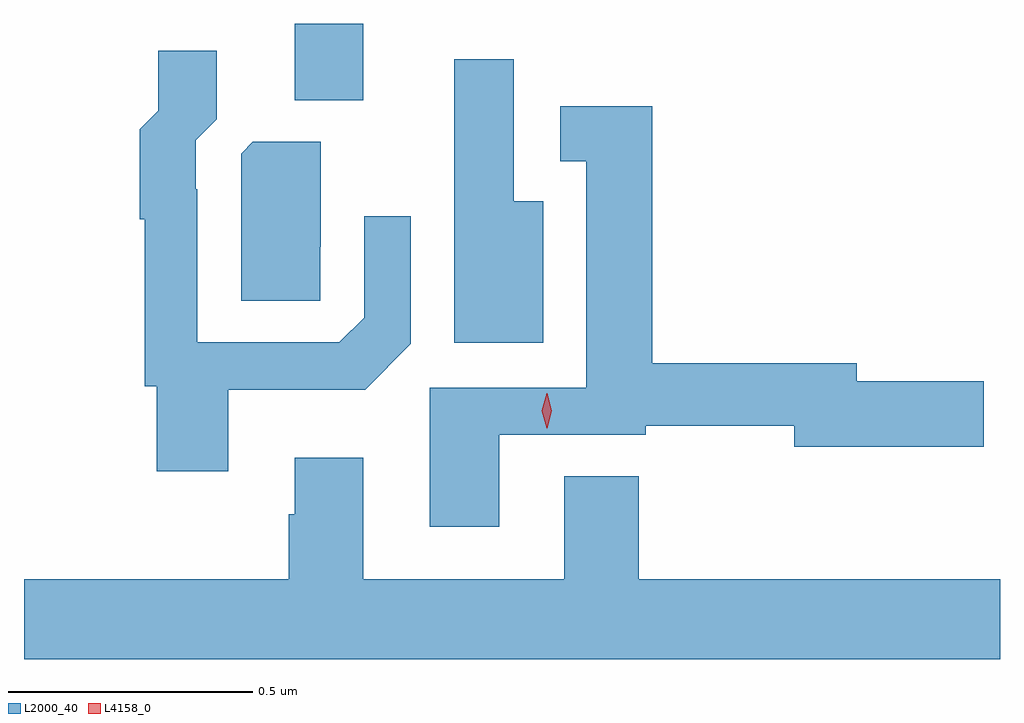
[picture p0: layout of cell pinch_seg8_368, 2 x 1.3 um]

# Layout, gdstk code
import gdstk
lib = gdstk.Library(unit=1e-6, precision=1e-09)
def R(c, l, rs):  # rectangles x0, y0, x1, y1
    for r in rs: c.add(gdstk.rectangle(r[:2], r[2:], *l))
def P(c, l, *ps):  # polygons
    for p in ps: c.add(gdstk.Polygon(p, *l))
L2000_40 = (2000, 40)
L4158_0 = (4158, 0)

pinch_seg8_368 = lib.new_cell('pinch_seg8_368')
R(pinch_seg8_368, L2000_40, [(419.843,1104.325,419.983,1104.482)])
P(pinch_seg8_368, L2000_40, [(419.707,1103.732),(419.987,1103.732),(420.081,1103.826),(420.081,1104.088),(419.985,1104.088),(419.985,1103.88),(419.934,1103.829),(419.643,1103.829),(419.643,1104.143),(419.64,1104.143),(419.64,1104.243),(419.683,1104.286),(419.683,1104.427),(419.563,1104.427),(419.563,1104.304),(419.525,1104.266),(419.525,1104.082),(419.535,1104.082),(419.535,1103.739),(419.56,1103.739),(419.56,1103.565),(419.707,1103.565)],
  [(420.352,1104.118),(420.292,1104.118),(420.292,1104.409),(420.17,1104.409),(420.17,1103.828),(420.352,1103.828)],
  [(420.262,1103.64),(420.562,1103.64),(420.562,1103.658),(420.866,1103.658),(420.866,1103.615),(421.255,1103.615),(421.255,1103.75),(420.994,1103.75),(420.994,1103.786),(420.575,1103.786),(420.575,1104.313),(420.387,1104.313),(420.387,1104.2),(420.44,1104.2),(420.44,1103.736),(420.119,1103.736),(420.119,1103.451),(420.262,1103.451)],
  [(419.895,1104.025),(419.896,1104.025),(419.896,1104.24),(419.757,1104.24),(419.733,1104.216),(419.733,1103.914),(419.895,1103.914)],
  [(421.288,1103.344),(420.548,1103.344),(420.548,1103.555),(420.395,1103.555),(420.395,1103.344),(419.983,1103.344),(419.983,1103.593),(419.843,1103.593),(419.843,1103.477),(419.831,1103.477),(419.831,1103.344),(419.288,1103.344),(419.288,1103.18),(421.288,1103.18)])
P(pinch_seg8_368, L4158_0, [(420.359,1103.653),(420.359,1103.653),(420.349,1103.689),(420.359,1103.725),(420.359,1103.725),(420.36,1103.725),(420.369,1103.689),(420.36,1103.653)])

lib.write_gds('pinch_seg8_368.gds')
